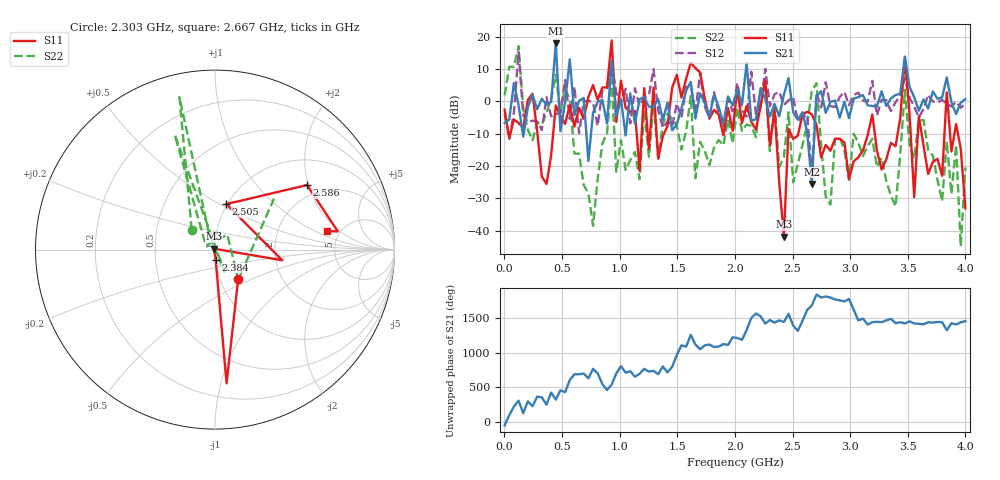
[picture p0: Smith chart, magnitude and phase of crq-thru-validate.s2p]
!Created with skrf (http://scikit-rf.org).
# GHz S DB R 50.0
!freq dBS11 angS11 dBS21 angS21 dBS12 angS12 dBS22 angS22
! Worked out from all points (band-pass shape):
!   100 points, 1 MHz to 4 GHz, reference 50 ohm
!   highest |S21| = 18.01 dB at 445.3 MHz (marker M1); lowest = -25.6 dB at 2.667 GHz (marker M2)
!   |S21| within 3 dB of the highest: 438.7 MHz to 449.8 MHz (11.11 MHz wide, 2.5 % of centre)
!   lowest |S11| = -41.9 dB at 2.425 GHz (marker M3), VSWR 1.02, Z = 49.4 + j0.515 ohm
!   |S11| at or under -10 dB: 2.719 GHz to 3.155 GHz (436.2 MHz wide, 14.9 % of centre); 3.214 GHz to 3.412 GHz (198.4 MHz wide, 5.99 % of centre); 3.62 GHz to 3.818 GHz (198.3 MHz wide, 5.33 % of centre) (the widest 3 of 15)
!   |S22| runs from -44.8 to 17.1 dB; largest |S21 - S12| = 8.2
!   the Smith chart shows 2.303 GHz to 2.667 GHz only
!   S11 on the Smith chart (normalised r, x): 2.303 GHz: 1.22, -0.42; 2.384 GHz: 1.00, -0.11; 2.505 GHz: 0.99, +0.54; 2.586 GHz: 1.66, +1.96; 2.667 GHz: 3.93, +1.35
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0.001  -2.54 -155.9  -6.72 -54.6  -3.82 -51.8  1.89 -174.2
0.08178788  -5.59 10.6  5.64 -141.6  -3.37 -62.8  10.71 75.8
0.1221818  -6.69 -103.1  -1.17 -56.7  15.34 127.8  17.10 -54.3
0.1625758  -8.18 166.9  -10.92 123.6  -4.27 57.5  -2.18 76.5
0.4049394  -16.71 58.4  -0.18 61.6  -4.63 145.4  0.80 -142.5
0.4453333  -1.29 59.7  18.01 -41.7  -3.98 -157.4  8.22 164.7
0.5261212  -6.99 116.4  -0.25 66.6  6.61 -159.5  3.81 179.7
0.5665152  -1.14 171.2  13.03 -118.8  -5.41 -1.4  0.73 144.4
0.687697  -5.40 -110.8  1.08 -24.8  0.07 -3.7  -25.91 167.3
0.8896667  4.39 -120.6  -6.84 96.9  3.73 86.9  -10.01 86.4
0.9300606  18.85 -3.1  12.43 176.9  11.72 24.0  6.66 163.7
0.9704545  -6.37 -41.7  -4.63 -22.6  2.72 -4.3  -21.78 117.0
1.334  -17.64 -65.0  0.77 -34.0  -2.81 53.2  -17.67 117.9
2.020697  4.00 -81.2  3.76 128.8  5.75 39.6  -1.94 22.2
2.303455  -13.62 -51.7  -4.73 28.5  -1.49 -23.7  -15.39 139.7
2.384242  -25.08 -86.4  -4.60 24.6  2.94 -13.0  -20.26 110.3
2.424636  -41.86 139.8  2.05 2.2  -1.14 -4.2  -17.36 -66.9
2.505424  -11.62 76.2  -3.33 -50.2  1.26 -13.9  -25.05 155.5
2.586212  -4.06 35.0  -3.36 17.2  -4.98 98.5  -13.46 -52.2
2.667  -4.00 9.4  -25.56 -121.5  -22.01 -177.5  3.15 -15.6
3.353697  -12.82 44.9  0.95 46.7  -3.00 6.1  -29.13 -30.1
4  -33.05 -103.4  0.72 12.8  -0.74 0.6  -20.41 14.0
